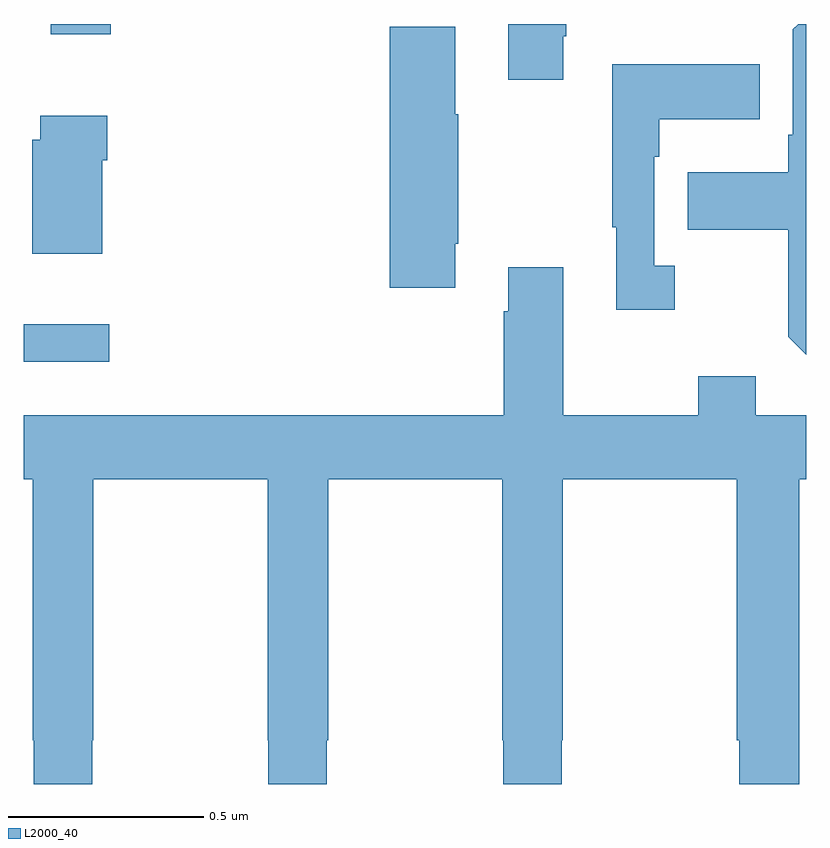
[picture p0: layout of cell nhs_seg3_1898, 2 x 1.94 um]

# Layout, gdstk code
import gdstk
lib = gdstk.Library(unit=1e-6, precision=1e-09)
def R(c, l, rs):  # rectangles x0, y0, x1, y1
    for r in rs: c.add(gdstk.rectangle(r[:2], r[2:], *l))
def P(c, l, *ps):  # polygons
    for p in ps: c.add(gdstk.Polygon(p, *l))
L2000_40 = (2000, 40)

nhs_seg3_1898 = lib.new_cell('nhs_seg3_1898')
R(nhs_seg3_1898, L2000_40, [(134,714.536,134.218,714.633), (134.069,715.374,134.222,715.4)])
P(nhs_seg3_1898, L2000_40, [(135.379,715.369),(135.387,715.369),(135.387,715.4),(135.239,715.4),(135.239,715.257),(135.379,715.257)],
  [(136,715.4),(135.98,715.4),(135.966,715.386),(135.966,715.117),(135.954,715.117),(135.954,715.021),(135.697,715.021),(135.697,714.874),(135.954,714.874),(135.954,714.601),(136,714.555)],
  [(135.103,714.838),(135.111,714.838),(135.111,715.169),(135.103,715.169),(135.103,715.393),(134.936,715.393),(134.936,714.726),(135.103,714.726)],
  [(135.664,714.782),(135.612,714.782),(135.612,715.061),(135.625,715.061),(135.625,715.157),(135.881,715.157),(135.881,715.297),(135.504,715.297),(135.504,714.881),(135.515,714.881),(135.515,714.669),(135.664,714.669)],
  [(134.2,715.052),(134.213,715.052),(134.213,715.165),(134.042,715.165),(134.042,715.104),(134.021,715.104),(134.021,714.812),(134.2,714.812)],
  [(134,714.236),(134.023,714.236),(134.023,713.569),(134.025,713.569),(134.025,713.457),(134.175,713.457),(134.175,713.569),(134.178,713.569),(134.178,714.236),(134.623,714.236),(134.623,713.569),(134.625,713.569),(134.625,713.457),(134.775,713.457),(134.775,713.569),(134.778,713.569),(134.778,714.236),(135.223,714.236),(135.223,713.569),(135.225,713.569),(135.225,713.457),(135.375,713.457),(135.375,713.569),(135.378,713.569),(135.378,714.236),(135.823,714.236),(135.823,713.569),(135.829,713.569),(135.829,713.457),(135.983,713.457),(135.983,714.236),(136,714.236),(136,714.4),(135.871,714.4),(135.871,714.499),(135.724,714.499),(135.724,714.4),(135.379,714.4),(135.379,714.778),(135.239,714.778),(135.239,714.665),(135.227,714.665),(135.227,714.4),(134,714.4)])

lib.write_gds('nhs_seg3_1898.gds')
